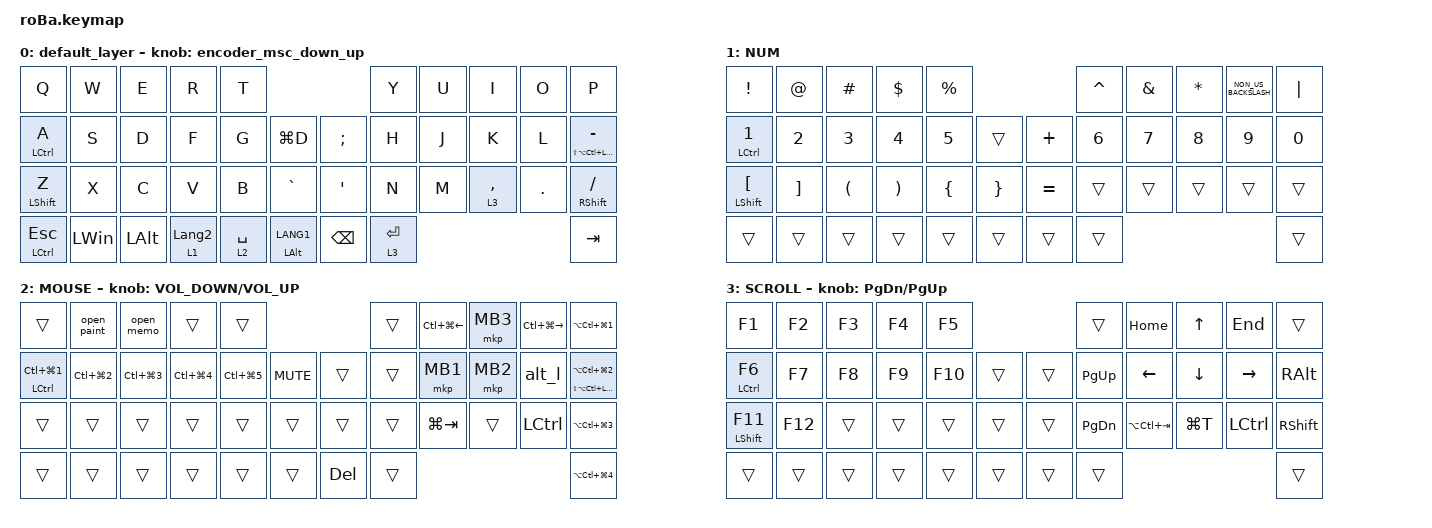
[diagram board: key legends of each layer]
#include <behaviors.dtsi>
#include <dt-bindings/zmk/bt.h>
#include <dt-bindings/zmk/keys.h>
#include <dt-bindings/zmk/pointing.h>

#define ZMK_POINTING_DEFAULT_SCRL_VAL 150

&mt {
    flavor = "tap-preferred";
    tapping-term-ms = <200>;
    quick-tap-ms = <200>;
};

&trackball {
    automouse-layer = <2>;
    scroll-layers = <3>;
};

/ {
    combos {
        compatible = "zmk,combos";

        BT0 {
            bindings = <&bt BT_SEL 0>;
            key-positions = <42 0>;
        };

        BT1 {
            bindings = <&bt BT_SEL 1>;
            key-positions = <42 1>;
        };

        BT2 {
            bindings = <&bt BT_SEL 2>;
            key-positions = <42 2>;
        };

        mouse {
            bindings = <&tog 2>;
            key-positions = <40 21>;
        };

        L_click {
            bindings = <&mkp MB1>;
            key-positions = <18 19>;
        };

        R_click {
            bindings = <&mkp MB2>;
            key-positions = <19 20>;
        };

        M_click {
            bindings = <&mkp MB3>;
            key-positions = <7 8>;
        };

        alt_escape {
            bindings = <&alt_Escape>;
            key-positions = <30 31>;
        };

        BT_clr_all {
            bindings = <&bt BT_CLR_ALL>;
            key-positions = <42 27>;
        };
    };

    //    macros {
    //        to_layer_0: to_layer_0 {
    //            compatible = "zmk,behavior-macro-one-param";
    //            #binding-cells = <1>;
    //            bindings = <&to 0 &macro_param_1to1 &kp MACRO_PLACEHOLDER>;
    //            label = "TO_LAYER_0";
    //        };
    //    };

    macros {
        open_paint: open_paint {
            compatible = "zmk,behavior-macro";
            #binding-cells = <0>;
            wait-ms = <15>;
            tap-ms = <15>;
            bindings =
                <&macro_press>,
                <&kp LGUI>,
                <&macro_tap>,
                <&kp R>,
                <&macro_release>,
                <&kp LGUI>,
                <&macro_wait_time 200>,
                <&macro_tap>,
                <&kp LANG2>,
                <&macro_tap>,
                <&macro_wait_time 3>,
                <&macro_tap_time 3>,
                <&kp M &kp S &kp P &kp A &kp I &kp N &kp T>,
                <&macro_wait_time 50>,
                <&macro_tap>,
                <&kp ENTER>;
        };

        open_memo: open_memo {
            compatible = "zmk,behavior-macro";
            #binding-cells = <0>;
            wait-ms = <15>;
            tap-ms = <15>;
            bindings =
                <&macro_press>,
                <&kp LGUI>,
                <&macro_tap>,
                <&kp R>,
                <&macro_release>,
                <&kp LGUI>,
                <&macro_wait_time 200>,
                <&macro_tap>,
                <&kp LANG2>,
                <&macro_tap>,
                <&macro_wait_time 3>,
                <&macro_tap_time 3>,
                <&kp N &kp O &kp T &kp E &kp P &kp A &kp D>,
                <&macro_wait_time 50>,
                <&macro_tap>,
                <&kp ENTER>;
        };

        alt_l: alt_l {
            compatible = "zmk,behavior-macro";
            #binding-cells = <0>;
            bindings =
                <&macro_press>,
                <&kp LEFT_ALT>,
                <&macro_tap>,
                <&kp L>,
                <&macro_release>,
                <&kp LEFT_ALT>;

            wait-ms = <15>;
            tap-ms = <15>;
        };

        alt_Escape: alt_Escape {
            compatible = "zmk,behavior-macro";
            #binding-cells = <0>;
            bindings =
                <&macro_press>,
                <&kp LEFT_ALT>,
                <&macro_tap>,
                <&kp ESCAPE>,
                <&macro_release>,
                <&kp LEFT_ALT>;

            wait-ms = <15>;
            tap-ms = <15>;
            label = "ALT_ESCAPE";
        };
    };

    behaviors {
        encoder_msc_down_up: encoder_msc_down_up {
            compatible = "zmk,behavior-sensor-rotate";
            label = "ENCODER_MSC_DOWN_UP";
            #sensor-binding-cells = <0>;
            bindings = <&msc SCRL_DOWN>, <&msc SCRL_UP>;

            tap-ms = <20>;
        };

        //        lt_to_layer_0: lt_to_layer_0 {
        //            compatible = "zmk,behavior-hold-tap";
        //            label = "LAYER_TAP_TO_0";
        //            bindings = <&mo>, <&to_layer_0>;
        //
        //            #binding-cells = <2>;
        //            tapping-term-ms = <200>;
        //        };
    };

    keymap {
        compatible = "zmk,keymap";

        default_layer {
            bindings = <
&kp Q               &kp W         &kp E         &kp R             &kp T                                               &kp Y        &kp U  &kp I        &kp O    &kp P
&mt LEFT_CONTROL A  &kp S         &kp D         &kp F             &kp G        &kp LG(D)               &kp SEMICOLON  &kp H        &kp J  &kp K        &kp L    &mt LS(LA(LC(LEFT_GUI))) MINUS
&mt LEFT_SHIFT Z    &kp X         &kp C         &kp V             &kp B        &kp GRAVE               &kp SQT        &kp N        &kp M  &lt 3 COMMA  &kp DOT  &mt RIGHT_SHIFT SLASH
&mt LCTRL ESCAPE    &kp LEFT_WIN  &kp LEFT_ALT  &lt 1 LANGUAGE_2  &lt 2 SPACE  &mt LEFT_ALT LANG1      &kp BACKSPACE  &lt 3 ENTER                               &kp TAB
            >;

            sensor-bindings = <&encoder_msc_down_up>;
        };

        NUM {
            bindings = <
&kp EXCLAMATION              &kp AT_SIGN        &kp HASH              &kp DOLLAR             &kp PERCENT                                     &kp CARET     &kp AMPERSAND  &kp ASTERISK  &kp NON_US_BACKSLASH  &kp PIPE
&mt LEFT_CONTROL NUMBER_1    &kp NUMBER_2       &kp NUMBER_3          &kp NUMBER_4           &kp NUMBER_5    &trans               &kp PLUS   &kp NUMBER_6  &kp NUMBER_7   &kp NUMBER_8  &kp NUMBER_9          &kp NUMBER_0
&mt LEFT_SHIFT LEFT_BRACKET  &kp RIGHT_BRACKET  &kp LEFT_PARENTHESIS  &kp RIGHT_PARENTHESIS  &kp LEFT_BRACE  &kp RIGHT_BRACE      &kp EQUAL  &trans        &trans         &trans        &trans                &trans
&trans                       &trans             &trans                &trans                 &trans          &trans               &trans     &trans                                                           &trans
            >;
        };

        MOUSE {
            bindings = <
&trans                             &open_paint           &open_memo            &trans                &trans                                   &trans  &kp LC(LG(LEFT))  &mkp MB3  &kp LC(LG(RIGHT))  &kp LA(LC(LG(NUMBER_1)))
&mt LEFT_CONTROL LC(LG(NUMBER_1))  &kp LC(LG(NUMBER_2))  &kp LC(LG(NUMBER_3))  &kp LC(LG(NUMBER_4))  &kp LC(LG(N5))  &kp K_MUTE      &trans   &trans  &mkp MB1          &mkp MB2  &alt_l             &mt LS(LA(LC(LEFT_GUI))) LA(LC(LG(NUMBER_2)))
&trans                             &trans                &trans                &trans                &trans          &trans          &trans   &trans  &kp LG(TAB)       &trans    &kp LEFT_CONTROL   &kp LA(LC(LG(NUMBER_3)))
&trans                             &trans                &trans                &trans                &trans          &trans          &kp DEL  &trans                                                 &kp LA(LC(LG(NUMBER_4)))
            >;

            sensor-bindings = <&inc_dec_kp C_VOLUME_DOWN C_VOLUME_UP>;
        };

        SCROLL {
            bindings = <
&kp F1               &kp F2   &kp F3  &kp F4  &kp F5                       &trans         &kp HOME         &kp UP_ARROW    &kp END           &trans
&mt LEFT_CONTROL F6  &kp F7   &kp F8  &kp F9  &kp F10  &trans      &trans  &kp PAGE_UP    &kp LEFT_ARROW   &kp DOWN_ARROW  &kp RIGHT_ARROW   &kp RIGHT_ALT
&mt LEFT_SHIFT F11   &kp F12  &trans  &trans  &trans   &trans      &trans  &kp PAGE_DOWN  &kp LA(LC(TAB))  &kp LG(T)       &kp LEFT_CONTROL  &kp RIGHT_SHIFT
&trans               &trans   &trans  &trans  &trans   &trans      &trans  &trans                                                            &trans
            >;

            sensor-bindings = <&inc_dec_kp PAGE_DOWN PAGE_UP>;
        };
    };
};
